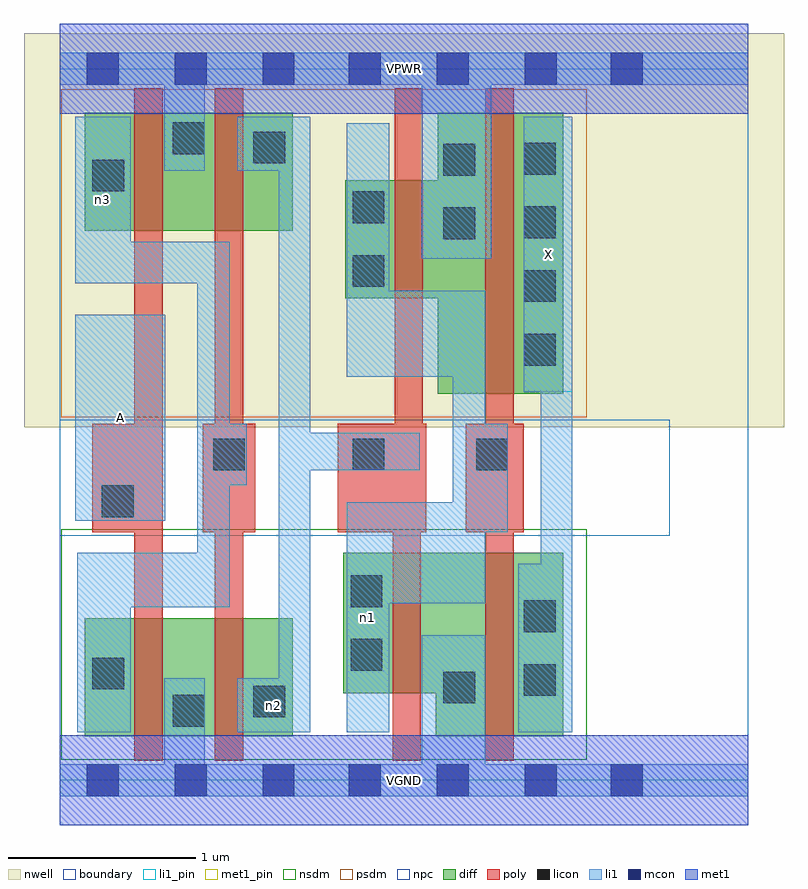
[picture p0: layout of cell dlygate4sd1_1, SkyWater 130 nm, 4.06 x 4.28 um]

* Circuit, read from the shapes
.subckt dlygate4sd1_1 A VGND VPWR X n1 n2 n3
XM1 VGND A n3 VSUBS sky130_fd_pr__nfet_01v8 w=0.63 l=0.15
XM2 n2 n3 VGND VSUBS sky130_fd_pr__nfet_01v8 w=0.63 l=0.15
XM3 VGND n2 n1 VSUBS sky130_fd_pr__nfet_01v8 w=0.75 l=0.15
XM4 X n1 VGND VSUBS sky130_fd_pr__nfet_01v8 w=0.98 l=0.15
XM5 VPWR A n3 n4 sky130_fd_pr__pfet_01v8 w=0.63 l=0.15
XM6 n2 n3 VPWR n4 sky130_fd_pr__pfet_01v8 w=0.63 l=0.15
XM7 VPWR n2 n1 n4 sky130_fd_pr__pfet_01v8 w=0.63 l=0.15
XM8 X n1 VPWR n4 sky130_fd_pr__pfet_01v8 w=1.5 l=0.15
.ends

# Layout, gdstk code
import gdstk
lib = gdstk.Library(unit=1e-6, precision=1e-09)
def R(c, l, rs):  # rectangles x0, y0, x1, y1
    for r in rs: c.add(gdstk.rectangle(r[:2], r[2:], *l))
def A(c, l, x, y, w, h, nx, ny, dx, dy):  # array of equal rectangles
    R(c, l, [(x+i*dx, y+j*dy, x+i*dx+w, y+j*dy+h) for i in range(nx) for j in range(ny)])
nwell = (64, 20)
diff = (65, 20)
poly = (66, 20)
licon = (66, 44)
li1_pin = (67, 16)
li1 = (67, 20)
mcon = (67, 44)
met1_pin = (68, 16)
met1 = (68, 20)
nsdm = (93, 44)
psdm = (94, 20)
npc = (95, 20)
boundary = (235, 4)

dlygate4sd1_1 = lib.new_cell('dlygate4sd1_1')
R(dlygate4sd1_1, nwell, [(-0.19,1.885,3.87,3.99), (0,1.885,3.68,3.99)])
R(dlygate4sd1_1, diff, [(0.135,0.235,1.245,0.865), (2.01,0.235,2.69,1.215), (1.515,0.465,2.69,1.215), (2.02,2.065,2.69,3.565), (1.525,2.575,2.69,3.205), (0.135,2.935,1.245,3.565)])
R(dlygate4sd1_1, poly, [(0.4,0.105,0.55,3.695), (0.83,0.105,0.98,3.695), (1.78,0.105,1.93,1.905), (2.275,0.105,2.425,3.695), (0.175,1.325,0.55,1.905), (0.765,1.325,1.045,1.905), (1.485,1.325,1.96,1.905), (1.79,1.325,1.94,3.695), (2.17,1.325,2.48,1.905)])
A(dlygate4sd1_1, licon, 2.48, 2.215, 0.17, 0.17, 1, 4, 0, 0.34)
R(dlygate4sd1_1, licon, [(0.605,0.285,0.775,0.455), (1.035,0.335,1.205,0.505), (2.05,0.41,2.22,0.58), (2.48,0.45,2.65,0.62), (0.175,0.485,0.345,0.655), (1.555,0.585,1.725,0.755), (2.48,0.79,2.65,0.96), (1.555,0.925,1.725,1.095), (0.225,1.405,0.395,1.575), (0.82,1.655,0.99,1.825), (1.565,1.655,1.735,1.825), (2.225,1.655,2.395,1.825), (1.565,2.635,1.735,2.805), (2.05,2.89,2.22,3.06), (1.565,2.975,1.735,3.145), (0.175,3.145,0.345,3.315), (2.05,3.23,2.22,3.4), (1.035,3.295,1.205,3.465), (0.605,3.345,0.775,3.515)])
R(dlygate4sd1_1, li1_pin, [(0.085,1.385,0.565,2.485), (2.48,2.075,2.74,3.545)])
R(dlygate4sd1_1, li1, [(0,-0.085,3.68,0.085), (0.56,-0.085,0.775,0.545), (1.935,-0.085,2.275,0.775), (0.095,0.255,0.38,1.215), (0.95,0.255,1.34,0.545), (1.17,0.255,1.34,3.545), (1.535,0.255,1.76,1.485), (2.45,0.255,2.74,1.155), (2.57,0.255,2.74,3.545), (0.095,0.925,0.91,1.215), (0.735,0.925,0.91,2.875), (1.535,0.945,2.275,1.485), (2.1,0.945,2.275,2.615), (2.1,1.325,2.395,1.905), (0.085,1.385,0.565,2.485), (0.735,1.575,1,1.905), (1.17,1.655,1.925,1.855), (2.48,2.075,2.74,3.545), (1.535,2.155,1.76,3.51), (1.535,2.155,2.275,2.615), (0.085,2.655,0.38,3.545), (0.085,2.655,0.91,2.875), (1.935,2.785,2.305,3.885), (0.56,3.255,0.775,3.885), (0.95,3.255,1.34,3.545), (0,3.715,3.68,3.885)])
A(dlygate4sd1_1, mcon, 0.145, -0.085, 0.17, 0.17, 3, 2, 0.47, 3.8)
A(dlygate4sd1_1, mcon, 1.545, -0.085, 0.17, 0.17, 3, 2, 0.47, 3.8)
R(dlygate4sd1_1, mcon, [(2.945,-0.085,3.115,0.085), (2.945,3.715,3.115,3.885)])
R(dlygate4sd1_1, met1_pin, [(0,-0.24,3.68,0.24), (0,3.56,3.68,4.04)])
R(dlygate4sd1_1, met1, [(0,-0.24,3.68,0.24), (0,3.56,3.68,4.04)])
R(dlygate4sd1_1, nsdm, [(0.01,0.11,2.815,1.34)])
R(dlygate4sd1_1, psdm, [(0.01,1.94,2.815,3.69)])
R(dlygate4sd1_1, npc, [(0,1.305,3.26,1.925)])
R(dlygate4sd1_1, boundary, [(0,0,3.68,3.8)])
dlygate4sd1_1.add(gdstk.Label('A', (0.325,1.935), layer=67, texttype=5))
dlygate4sd1_1.add(gdstk.Label('X', (2.61,2.81), layer=67, texttype=5))
dlygate4sd1_1.add(gdstk.Label('n1', (1.647,0.87), layer=67, texttype=5))
dlygate4sd1_1.add(gdstk.Label('n3', (0.232,3.1), layer=67, texttype=5))
dlygate4sd1_1.add(gdstk.Label('n2', (1.145,0.4), layer=67, texttype=5))
dlygate4sd1_1.add(gdstk.Label('VPWR', (1.84,3.8), layer=68, texttype=5))
dlygate4sd1_1.add(gdstk.Label('VGND', (1.84,0), layer=68, texttype=5))
dlygate4sd1_1.add(gdstk.Label('A', (0.325,1.935), layer=67, texttype=16))
dlygate4sd1_1.add(gdstk.Label('X', (2.61,2.81), layer=67, texttype=16))
dlygate4sd1_1.add(gdstk.Label('VPWR', (1.84,3.8), layer=68, texttype=16))
dlygate4sd1_1.add(gdstk.Label('VGND', (1.84,0), layer=68, texttype=16))

lib.write_gds('dlygate4sd1_1.gds')
